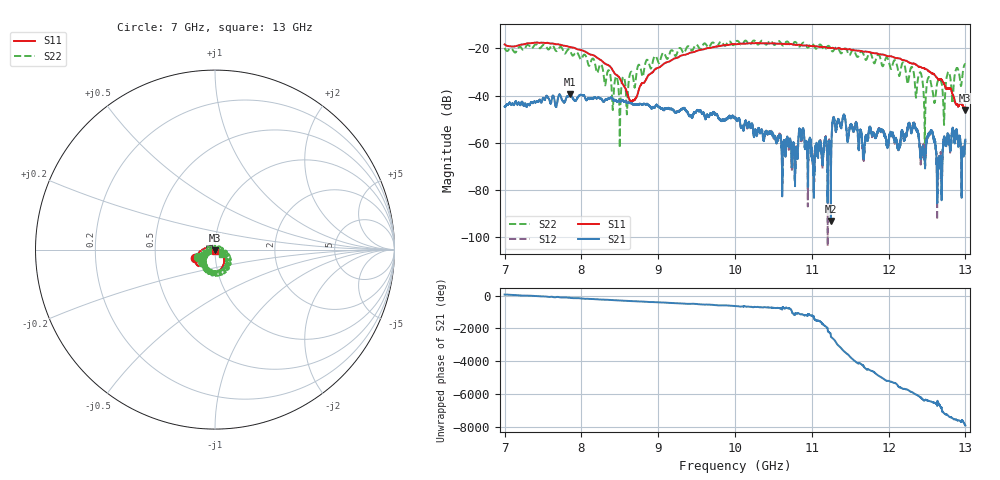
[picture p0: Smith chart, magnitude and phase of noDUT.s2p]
[Version] 2.0
! Rohde & Schwarz Vector Network Analyzer
! Rohde-Schwarz,ZNL20-2Port,1323001220200009,1.71.1.10-23.02.1.238
! Port Assignments:
! Nominal Port -> Actual Test Port
!  1 -> 1
!  2 -> 2
! Created: GMT+3 2024-09-24 15:44:04
# Hz S DB R 50
[Number of Ports] 2
[Two-Port Data Order] 21_12
! freq[Hz]  S11[mag dB]  S11[ang]  S21[mag dB]  S21[ang]  S12[mag dB]  S12[ang]  S22[mag dB]  S22[ang]
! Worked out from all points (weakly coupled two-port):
!   6001 points, 7 GHz to 13 GHz, reference 50 ohm
!   highest |S21| = -39.50 dB at 7.855 GHz (marker M1); lowest = -93.0 dB at 11.25 GHz (marker M2)
!   lowest |S11| = -46.0 dB at 12.99 GHz (marker M3), VSWR 1.01, Z = 50 - j0.499 ohm
!   |S11| at or under -10 dB: start of sweep to end of sweep
!   |S22| runs from -69.0 to -16.7 dB; largest |S21 - S12| = 0.00034
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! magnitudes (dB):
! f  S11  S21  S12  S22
! 7 GHz  -18.4  -44.6  -44.7  -19.8
! 7.855 GHz  -19.5  -39.5  -39.5  -21.1
! 8 GHz  -20.8  -39.7  -39.7  -24.6
! 8.499 GHz  -32.7  -42.4  -42.3  -56.8
! 8.653 GHz  -42.6  -43.1  -43.2  -29.9
! 9 GHz  -28.2  -44.6  -44.7  -25.8
! 10 GHz  -18.3  -49.3  -49.2  -17.8
! 10.76 GHz  -18.4  -59.6  -60.4  -17.9
! 10.87 GHz  -18.7  -57.7  -56.8  -18.2
! 11 GHz  -19.0  -65.9  -65.0  -18.0
! 11.25 GHz  -19.9  -93.0  -77.5  -20.4
! 11.42 GHz  -20.2  -48.1  -48.4  -20.4
! 11.68 GHz  -21.4  -64.8  -67.7  -22.8
! 12 GHz  -23.3  -60.0  -59.6  -25.3
! 12.34 GHz  -26.6  -52.5  -52.6  -33.6
! 12.42 GHz  -27.9  -65.3  -65.5  -30.3
! 12.47 GHz  -28.6  -66.9  -68.1  -62.5
! 12.56 GHz  -30.5  -55.4  -55.4  -36.1
! 12.66 GHz  -33.1  -68.0  -68.6  -32.6
! 12.75 GHz  -36.8  -61.1  -59.7  -34.8
! 12.99 GHz  -46.0  -62.1  -61.7  -26.9
! 13 GHz  -45.1  -58.7  -59.6  -26.6
